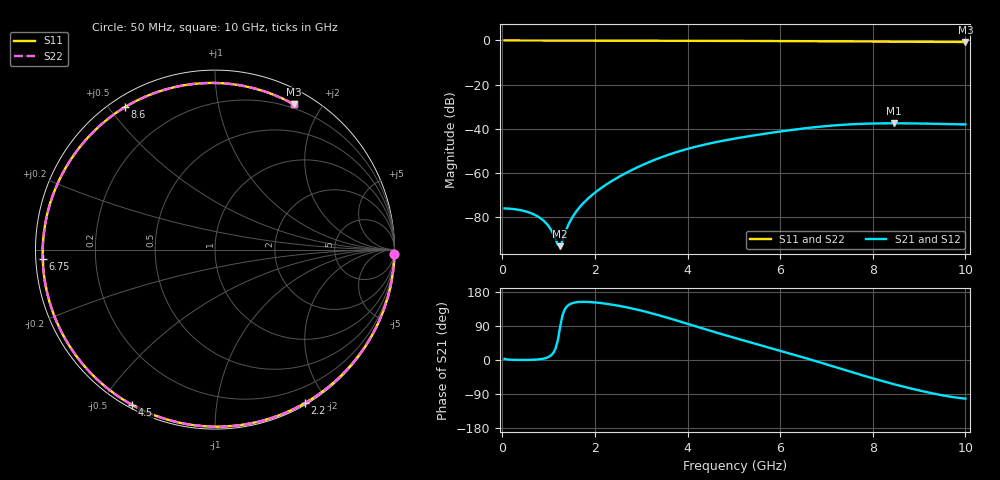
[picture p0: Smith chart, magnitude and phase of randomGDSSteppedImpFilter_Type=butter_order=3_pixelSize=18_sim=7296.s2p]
! freq	dB(S11)	phase(S11)	dB(S12)	phase(S12)
!  dB(S21)	phase(S21)	dB(S22)	phase(S22)
!S-par simulation data
#  GHz  S  DB  R 50
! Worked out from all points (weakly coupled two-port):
!   200 points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, 50 MHz to 10 GHz, reference 50 ohm
!   highest |S21| = -37.54 dB at 8.45 GHz (marker M1); lowest = -93.2 dB at 1.25 GHz (marker M2)
!   lowest |S11| = -0.7 dB at 10 GHz (marker M3), VSWR 24.13, Z = 7.89 + j83.5 ohm
!   |S11| at or under -10 dB: nowhere
!   |S22| runs from -0.7 to 0.0 dB; largest |S21 - S12| = 0
!   S11 on the Smith chart (normalised r, x): 50 MHz: 0, -82; 2.2 GHz: 0.02, -1.74; 4.5 GHz: 0.01, -0.60; 6.75 GHz: 0.02, -0.03; 8.6 GHz: 0.04, +0.55; 10 GHz: 0.16, +1.67
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0.05  -0.00 -1.4  -76.14 3.2  -76.14 3.2  -0.00 -1.4
0.45  -0.01 -12.5  -77.17 0.1  -77.17 0.1  -0.01 -12.5
0.8  -0.02 -22.2  -80.22 1.9  -80.22 1.9  -0.02 -22.2
1.25  -0.04 -34.4  -93.23 88.3  -93.23 88.3  -0.04 -34.4
1.5  -0.05 -41.1  -80.61 149.5  -80.61 149.5  -0.05 -41.2
1.75  -0.06 -47.8  -73.72 153.5  -73.72 153.5  -0.06 -47.8
2.2  -0.08 -59.7  -65.92 149.2  -65.92 149.2  -0.08 -59.7
2.75  -0.09 -74.0  -59.20 137.4  -59.20 137.4  -0.09 -74.0
3.4  -0.12 -90.5  -53.22 117.4  -53.22 117.4  -0.12 -90.6
4.5  -0.17 -118.0  -46.59 76.8  -46.59 76.8  -0.17 -118.1
5.05  -0.20 -131.8  -44.36 57.2  -44.36 57.2  -0.20 -131.8
5.9  -0.26 -153.5  -41.56 28.0  -41.56 28.0  -0.26 -153.6
6.7  -0.34 -175.3  -39.43 -0.4  -39.43 -0.4  -0.34 -175.4
6.75  -0.34 -176.8  -39.31 -2.2  -39.31 -2.2  -0.34 -176.8
7.55  -0.43 159.1  -37.98 -32.1  -37.98 -32.1  -0.43 159.1
8.35  -0.52 131.6  -37.54 -60.3  -37.54 -60.3  -0.52 131.5
8.45  -0.53 127.8  -37.54 -63.6  -37.54 -63.6  -0.53 127.8
8.6  -0.55 122.1  -37.54 -68.4  -37.54 -68.4  -0.55 122.1
9  -0.60 106.1  -37.63 -80.3  -37.63 -80.3  -0.60 106.1
9.35  -0.64 91.2  -37.78 -89.6  -37.78 -89.6  -0.64 91.1
9.7  -0.68 75.4  -37.96 -97.3  -37.96 -97.3  -0.68 75.4
10  -0.72 61.5  -38.01 -102.0  -38.01 -102.0  -0.72 61.4
